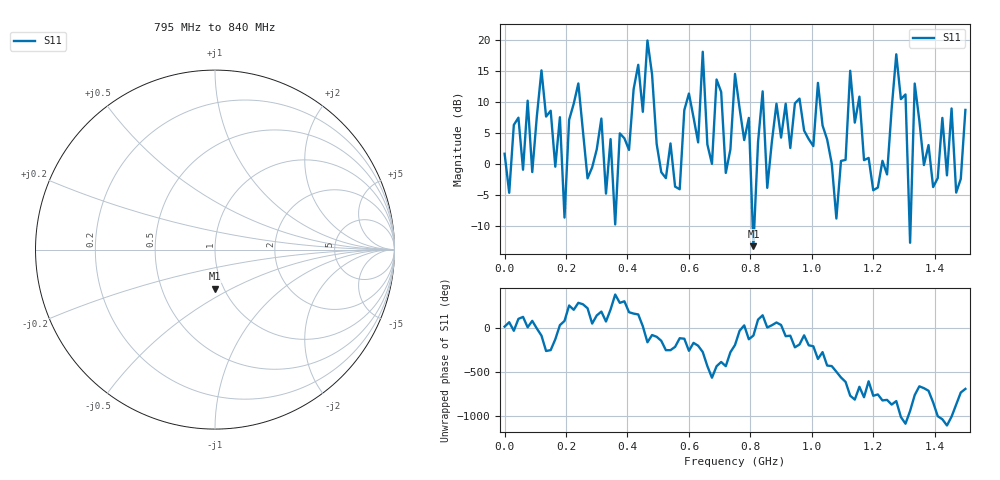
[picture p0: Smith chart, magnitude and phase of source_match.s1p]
! Created with skrf 1.8.0 (http://scikit-rf.org).
# Hz S RI R 50.0
!freq ReS11 ImS11
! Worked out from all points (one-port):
!   101 points, 50 kHz to 1.5 GHz, reference 50 ohm
!   lowest |S11| = -13.3 dB at 810 MHz (marker M1), VSWR 1.56, Z = 45.5 - j20.7 ohm
!   |S11| at or under -10 dB: 807.7 MHz to 812.9 MHz (5.283 MHz wide, 0.652 % of centre); 1.318303 GHz to 1.321592 GHz (3.289 MHz wide, 0.249 % of centre)
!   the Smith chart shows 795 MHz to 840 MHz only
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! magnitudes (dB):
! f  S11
! 50 kHz  1.6
! 90.05 MHz  -1.3
! 120 MHz  15.1
! 180 MHz  7.5
! 195 MHz  -8.7
! 240 MHz  13.0
! 360 MHz  -9.8
! 375 MHz  4.9
! 465 MHz  19.9
! 570 MHz  -4.1
! 645 MHz  18.1
! 675 MHz  0.0
! 750 MHz  14.5
! 795 MHz  7.4
! 810 MHz  -13.3
! 840 MHz  11.7
! 855 MHz  -3.9
! 945 MHz  9.8
! 1.02 GHz  13.1
! 1.08 GHz  -8.8
! 1.125 GHz  15.0
! 1.2 GHz  -4.2
! 1.275 GHz  17.7
! 1.305 GHz  11.2
! 1.32 GHz  -12.7
! 1.335 GHz  12.9
! 1.395 GHz  -3.7
! 1.5 GHz  8.7
